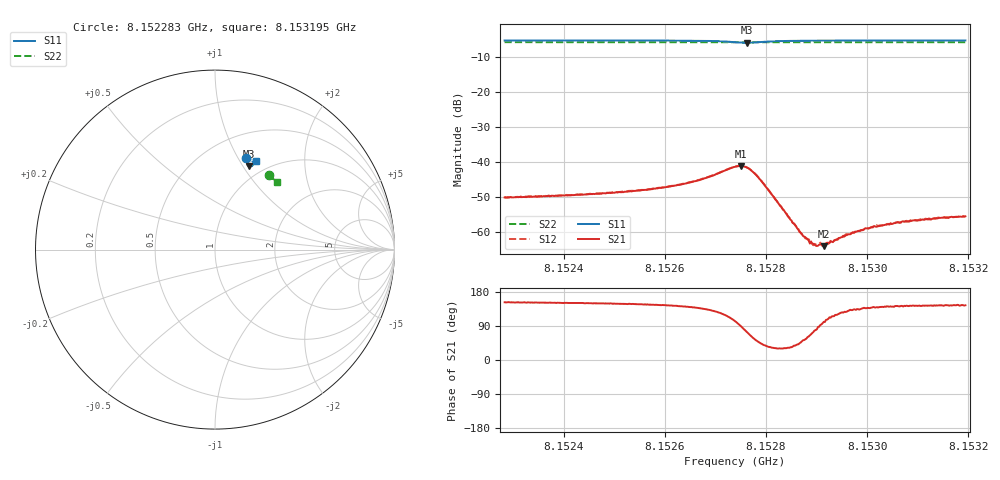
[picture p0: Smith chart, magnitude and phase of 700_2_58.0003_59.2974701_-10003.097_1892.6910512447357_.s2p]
#  HZ  S  RI  R  50.00
! Rohde & Schwarz Vector Network Analyzer
! Rohde-Schwarz,ZNB20-2Port,1311601062101988,3.16
! Created: UTC 3/21/2024, 1:21:44 AM
! freq[Hz]  re:S11  im:S11  re:S21  im:S21  re:S12  im:S12  re:S22  im:S22
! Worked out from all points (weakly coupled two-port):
!   401 points, 8.152283 GHz to 8.153195 GHz, reference 50 ohm
!   highest |S21| = -41.16 dB at 8.15275 GHz (marker M1); lowest = -64.1 dB at 8.152914 GHz (marker M2)
!   lowest |S11| = -6.0 dB at 8.152762 GHz (marker M3), VSWR 3.01, Z = 42.9 + j53.1 ohm
!   |S11| at or under -10 dB: nowhere
!   |S22| runs from -5.9 to -5.8 dB; largest |S21 - S12| = 0.00018
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8.1522831e9  0.175 0.5112  -0.00275 0.00144  -0.00277 0.0015  0.2999 0.4143
8.1524358e9  0.1867 0.5072  -0.00295 0.0017  -0.00294 0.00176  0.3077 0.4082
8.1525178e9  0.1932 0.5043  -0.00313 0.00195  -0.00317 0.00204  0.3117 0.405
8.1525885e9  0.1999 0.5011  -0.0035 0.00243  -0.00346 0.00246  0.3154 0.4021
8.1526317e9  0.2045 0.4978  -0.00372 0.00295  -0.00374 0.003  0.3175 0.4004
8.1526659e9  0.2088 0.4935  -0.004 0.00369  -0.00399 0.0038  0.3191 0.3987
8.1527388e9  0.2077 0.4672  -0.00184 0.00829  -0.00171 0.00838  0.3222 0.3949
8.1527502e9  0.1995 0.463  4.78e-05 0.00875  0.000229 0.00876  0.3223 0.3946
8.1527616e9  0.189 0.4638  0.0022 0.00805  0.00232 0.00809  0.3226 0.3942
8.1527707e9  0.1821 0.4686  0.00344 0.00674  0.00356 0.00676  0.3228 0.3942
8.1527844e9  0.1781 0.4787  0.00403 0.00453  0.00409 0.00448  0.3234 0.3942
8.1528687e9  0.1962 0.4989  0.00067 0.000699  0.000671 0.0007  0.3283 0.3909
8.1528755e9  0.1972 0.4988  0.000519 0.000681  0.00053 0.000679  0.3286 0.3907
8.1528915e9  0.1999 0.4989  0.000222 0.000644  0.000233 0.000636  0.3295 0.3902
8.1529006e9  0.2008 0.4989  0.0001 0.00062  6.5e-05 0.000649  0.3298 0.3898
8.1529143e9  0.2028 0.4988  -0.000116 0.000616  -7.77e-05 0.000641  0.3304 0.3891
8.1529393e9  0.2059 0.4983  -0.000374 0.000675  -0.000347 0.000697  0.3319 0.3882
8.1529621e9  0.2083 0.4979  -0.000586 0.000712  -0.00058 0.000729  0.333 0.3871
8.15301e9  0.2129 0.4966  -0.000866 0.000767  -0.000872 0.000797  0.3353 0.385
8.1530441e9  0.2157 0.4957  -0.001 0.000818  -0.000977 0.000808  0.3368 0.3835
8.1531125e9  0.2212 0.4937  -0.00119 0.000889  -0.0012 0.000908  0.3401 0.3807
8.1531945e9  0.2272 0.4914  -0.00136 0.000974  -0.00134 0.001  0.344 0.3771
